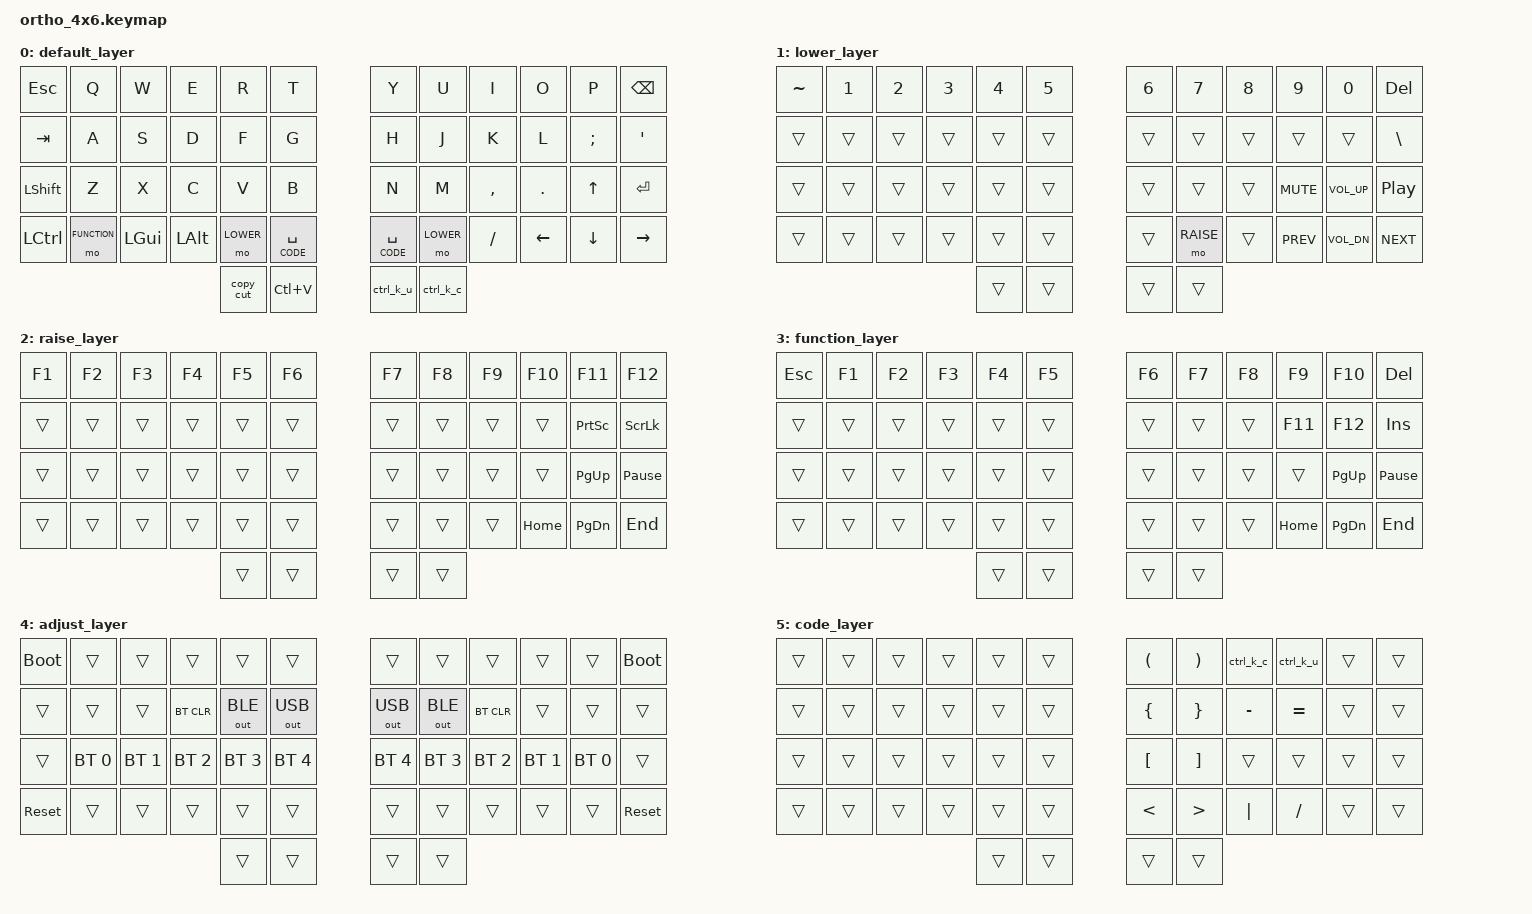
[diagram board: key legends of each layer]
/*
 * Ortho 4x6 Keymap
 * nice!nano v2 | ZMK Firmware | row2col wiring
 *
 * ─────────────────────────────────────────────────────────────────────────────
 * Physical layout (52 keys total, 26 per half):
 *
 *   ┌─────┬─────┬─────┬─────┬─────┬─────┐                     ┌─────┬─────┬─────┬─────┬─────┬─────┐
 *   │  0  │  1  │  2  │  3  │  4  │  5  │                     │  6  │  7  │  8  │  9  │ 10  │ 11  │  ← Row 0
 *   ├─────┼─────┼─────┼─────┼─────┼─────┤                     ├─────┼─────┼─────┼─────┼─────┼─────┤
 *   │ 12  │ 13  │ 14  │ 15  │ 16  │ 17  │                     │ 18  │ 19  │ 20  │ 21  │ 22  │ 23  │  ← Row 1
 *   ├─────┼─────┼─────┼─────┼─────┼─────┤                     ├─────┼─────┼─────┼─────┼─────┼─────┤
 *   │ 24  │ 25  │ 26  │ 27  │ 28  │ 29  │                     │ 30  │ 31  │ 32  │ 33  │[34] │ 35  │  ← Row 2  [34]=UP
 *   ├─────┼─────┼─────┼─────┼─────┼─────┤                     ├─────┼─────┼─────┼─────┼─────┼─────┤
 *   │ 36  │ 37  │ 38  │ 39  │ 40  │ 41  │                     │ 42  │ 43  │ 44  │[45] │[46] │[47] │  ← Row 3  [45-47]=L/D/R
 *   └─────┴─────┴─────┴─────┴─────┼─────┬─────┐         ┌─────┼─────┼─────┼─────┼─────┴─────┴─────┘
 *                                 │ 48  │ 49  │         │ 50  │ 51  │                         ← Thumb
 *                                 └─────┴─────┘         └─────┴─────┘
 *
 * Arrow key inverted-T (bottom-right of right half):
 *                     [UP:34]
 *        [LEFT:45] [DOWN:46] [RIGHT:47]
 *
 * Thumb cluster:
 *   48 = Left thumb inner  (LT0) — copy_cut tap-dance (tap=copy, doubletap=cut)
 *   49 = Left thumb outer  (LT1) — PASTE (Ctrl+V)
 *   50 = Right thumb inner (RT0) — UNCOMMENT (Ctrl+K Ctrl+U)
 *   51 = Right thumb outer (RT1) — COMMENT (Ctrl+K Ctrl+C)
 * ─────────────────────────────────────────────────────────────────────────────
 */

#include <behaviors.dtsi>
#include <dt-bindings/zmk/keys.h>
#include <dt-bindings/zmk/bt.h>
#include <dt-bindings/zmk/outputs.h>

#define BASE     0
#define LOWER    1
#define RAISE    2
#define FUNCTION 3
#define ADJUST   4
#define CODE     5

/ {
    /* ADJUST activates when both LOWER and RAISE are held simultaneously */
    conditional_layers {
        compatible = "zmk,conditional-layers";
        adjust_layer {
            if-layers = <LOWER RAISE>;
            then-layer = <ADJUST>;
        };
    };

    behaviors {
        copy_cut: copy_cut {
            compatible = "zmk,behavior-tap-dance";
            #binding-cells = <0>;
            tapping-term-ms = <300>;
            bindings = <&kp LC(C)>, <&kp LC(X)>;
        };

    };

    macros {
        ctrl_k_c: ctrl_k_c {
            compatible = "zmk,behavior-macro";
            #binding-cells = <0>;
            wait-ms = <30>;
            tap-ms = <40>;
            bindings
                = <&macro_tap &kp LC(K)>
                , <&macro_tap &kp LC(C)>
                ;
        };
        ctrl_k_u: ctrl_k_u {
            compatible = "zmk,behavior-macro";
            #binding-cells = <0>;
            wait-ms = <30>;
            tap-ms = <40>;
            bindings
                = <&macro_tap &kp LC(K)>
                , <&macro_tap &kp LC(U)>
                ;
        };
    };


    keymap {
        compatible = "zmk,keymap";

        /* ──────────────────────────────────────────────────────────────────
         * Layer 0 — BASE (QWERTY)
         *
         * ┌─────┬─────┬─────┬─────┬─────┬─────┐                 ┌─────┬─────┬─────┬─────┬─────┬─────┐
         * │ ESC │  Q  │  W  │  E  │  R  │  T  │                 │  Y  │  U  │  I  │  O  │  P  │BSPC │
         * ├─────┼─────┼─────┼─────┼─────┼─────┤                 ├─────┼─────┼─────┼─────┼─────┼─────┤
         * │ TAB │  A  │  S  │  D  │  F  │  G  │                 │  H  │  J  │  K  │  L  │  ;  │  '  │
         * ├─────┼─────┼─────┼─────┼─────┼─────┤                 ├─────┼─────┼─────┼─────┼─────┼─────┤
         * │LSFT │  Z  │  X  │  C  │  V  │  B  │                 │  N  │  M  │  ,  │  .  │ UP  │ RET │
         * ├─────┼─────┼─────┼─────┼─────┼─────┤                 ├─────┼─────┼─────┼─────┼─────┼─────┤
         * │LCTL │ FN  │LGUI │LALT │MO(L)│CSPC │                 │CSPC │MO(R)│  /  │LEFT │DOWN │RGHT │
         * └─────┴─────┴─────┴─────┴─────┼─────┬─────┐     ┌─────┼─────┼─────┼─────┼─────┴─────┴─────┘
         *                               │CPY/X│PST  │     │UCMT │CMT  │
         *                               └─────┴─────┘     └─────┴─────┘
         * ──────────────────────────────────────────────────────────────── */
        default_layer {
            bindings = <
/* Row 0 */
&kp ESC    &kp Q    &kp W    &kp E     &kp R     &kp T         &kp Y     &kp U     &kp I     &kp O    &kp P     &kp BSPC
/* Row 1 */
&kp TAB    &kp A    &kp S    &kp D     &kp F     &kp G         &kp H     &kp J     &kp K     &kp L    &kp SEMI  &kp SQT
/* Row 2 */
&kp LSHFT  &kp Z    &kp X    &kp C     &kp V     &kp B         &kp N     &kp M     &kp COMMA &kp DOT  &kp UP    &kp RET
/* Row 3 */
&kp LCTRL  &mo FUNCTION &kp LGUI &kp LALT &mo LOWER &lt CODE SPACE    &lt CODE SPACE &mo LOWER &kp FSLH  &kp LEFT &kp DOWN  &kp RIGHT
/* Thumb */
                              &copy_cut &kp LC(V)               &ctrl_k_u &ctrl_k_c
            >;
        };

        /* ──────────────────────────────────────────────────────────────────
         * Layer 1 — LOWER (Numbers, symbols, media)
         *
         * ┌─────┬─────┬─────┬─────┬─────┬─────┐                 ┌─────┬─────┬─────┬─────┬─────┬─────┐
         * │  ~  │  1  │  2  │  3  │  4  │  5  │                 │  6  │  7  │  8  │  9  │  0  │ DEL │
         * ├─────┼─────┼─────┼─────┼─────┼─────┤                 ├─────┼─────┼─────┼─────┼─────┼─────┤
         * │     │     │     │     │     │     |                 │PSCR │     │     │     │     │  \  | 
         * ├─────┼─────┼─────┼─────┼─────┼─────┤                 ├─────┼─────┼─────┼─────┼─────┼─────┤
         * │     │     │     │     │     │     │                 │SLCK │PGUP │PAUS │MUTE │VOL+ │ PLY │
         * ├─────┼─────┼─────┼─────┼─────┼─────┤                 ┼─────┼─────┼─────┼─────┼─────┼─────┤
         * │     │     │     │     │▓▓▓▓▓│     │                 │HOME │PGDN │ END │ PRV │VOL- │ NXT │
         * └─────┴─────┴─────┴─────┴─────┼─────┬─────┐     ┌─────┼─────┼─────┼─────┼─────┴─────┴─────┘
         *                               │     │     │     │     │     │
         *                               └─────┴─────┘     └─────┴─────┘
         * ──────────────────────────────────────────────────────────────── */
        lower_layer {
            bindings = <
/* Row 0 */
&kp TILDE  &kp N1    &kp N2    &kp N3    &kp N4    &kp N5        &kp N6     &kp N7    &kp N8    &kp N9      &kp N0   &kp DEL
/* Row 1 */
&trans     &trans    &trans    &trans    &trans    &trans        &trans     &trans    &trans    &trans      &trans   &kp BSLH
/* Row 2 */
&trans     &trans    &trans    &trans    &trans    &trans        &trans     &trans    &trans    &kp C_MUTE  &kp C_VOL_UP   &kp C_PP  
/* Row 3 */
&trans     &trans    &trans    &trans     &trans   &trans        &trans     &mo RAISE    &trans    &kp C_PREV  &kp C_VOL_DN &kp C_NEXT
/* Thumb */
                               &trans    &trans                  &trans    &trans
            >;
        };

        /* ──────────────────────────────────────────────────────────────────
         * Layer 2 — RAISE (Function keys, navigation)
         *
         * ┌─────┬─────┬─────┬─────┬─────┬─────┐                 ┌─────┬─────┬─────┬─────┬─────┬─────┐
         * │  ~  │  1  │  2  │  3  │  4  │  5  │                 │  6  │  7  │  8  │  9  │  0  │ DEL │
         * ├─────┼─────┼─────┼─────┼─────┼─────┤                 ├─────┼─────┼─────┼─────┼─────┼─────┤
         * │     │     │     │     │     │     │                 │PSCR │     │     │     │     │  \  |
         * ├─────┼─────┼─────┼─────┼─────┼─────┤                 ├─────┼─────┼─────┼─────┼─────┼─────┤
         * │     │     │     │     │     │     │                 │SLCK │PGUP │PAUS │MUTE │VOL+ │ PLY │
         * ├─────┼─────┼─────┼─────┼─────┼─────┤                 ┼─────┼─────┼─────┼─────┼─────┼─────┤
         * │     │     │     │     │     │     │                 │HOME │PGDN │ END │ PRV │VOL- │ NXT │
         * └─────┴─────┴─────┴─────┴─────┼─────┬─────┐     ┌─────┼─────┼─────┼─────┼─────┴─────┴─────┘
         *                               │     │     │     │     │▓▓▓▓▓│
         *                               └─────┴─────┘     └─────┴─────┘
         * ──────────────────────────────────────────────────────────────── */
        raise_layer {
            bindings = <
/* Row 0 */
&kp F1     &kp F2    &kp F3    &kp F4    &kp F5    &kp F6        &kp F7    &kp F8    &kp F9    &kp F10   &kp F11   &kp F12
/* Row 1 */
&trans     &trans    &trans    &trans    &trans    &trans        &trans    &trans    &trans    &trans    &kp PSCRN &kp SLCK
/* Row 2 */
&trans     &trans    &trans    &trans    &trans    &trans        &trans    &trans    &trans    &trans    &kp PG_UP &kp PAUSE_BREAK
/* Row 3 */
&trans     &trans    &trans    &trans    &trans    &trans        &trans    &trans    &trans    &kp HOME  &kp PG_DN &kp END
/* Thumb */
                               &trans    &trans                  &trans    &trans
            >;
        };

        /* ──────────────────────────────────────────────────────────────────
         * Layer 3 — FUNCTION (F-keys, held via FN key)
         *
         * ┌─────┬─────┬─────┬─────┬─────┬─────┐                 ┌─────┬─────┬─────┬─────┬─────┬─────┐
         * │ ESC │ F1  │ F2  │ F3  │ F4  │ F5  │                 │ F6  │ F7  │ F8  │ F9  │ F10 │ DEL │
         * ├─────┼─────┼─────┼─────┼─────┼─────┤                 ├─────┼─────┼─────┼─────┼─────┼─────┤
         * │     │     │     │     │     │     │                 │     │     │     │ F11 │ F12 │ INS │
         * ├─────┼─────┼─────┼─────┼─────┼─────┤                 ├─────┼─────┼─────┼─────┼─────┼─────┤
         * │     │     │     │     │     │     │                 │     │     │     │     │PGUP │PAUS │
         * ├─────┼─────┼─────┼─────┼─────┼─────┤                 ├─────┼─────┼─────┼─────┼─────┼─────┤
         * │     │▓▓▓▓▓│     │     │     │     │                 │     │     │     │HOME │PGDN │ END │
         * └─────┴─────┴─────┴─────┴─────┼─────┬─────┐     ┌─────┼─────┼─────┼─────┼─────┴─────┴─────┘
         *                               │     │     │     │     │     │
         *                               └─────┴─────┘     └─────┴─────┘
         * ──────────────────────────────────────────────────────────────── */
        function_layer {
            bindings = <
/* Row 0 */
&kp ESC    &kp F1    &kp F2    &kp F3    &kp F4    &kp F5        &kp F6    &kp F7    &kp F8    &kp F9    &kp F10   &kp DEL
/* Row 1 */
&trans     &trans    &trans    &trans    &trans    &trans        &trans    &trans    &trans    &kp F11   &kp F12   &kp INS
/* Row 2 */
&trans     &trans    &trans    &trans    &trans    &trans        &trans    &trans    &trans    &trans    &kp PG_UP &kp PAUSE_BREAK
/* Row 3 */
&trans     &trans    &trans    &trans    &trans    &trans        &trans    &trans    &trans    &kp HOME  &kp PG_DN &kp END
/* Thumb */
                               &trans   &trans                  &trans    &trans
            >;
        };

        /* ──────────────────────────────────────────────────────────────────
         * Layer 4 — ADJUST (Bluetooth, firmware)
         * Reached by: hold LOWER + RAISE simultaneously (conditional layer)
         *
         * ┌──────┬──────┬──────┬──────┬──────┬──────┐                   ┌──────┬──────┬──────┬──────┬──────┬──────┐
         * │ BOOT │      │      │      │      │      │                   │      │      │      │      │      │ BOOT │
         * ├──────┼──────┼──────┼──────┼──────┼──────┤                   ├──────┼──────┼──────┼──────┼──────┼──────┤
         * │      │      │      │BTCLR │O_BLE │O_USB │                   │O_USB │O_BLE │BTCLR │      │      │      │
         * ├──────┼──────┼──────┼──────┼──────┼──────┤                   ├──────┼──────┼──────┼──────┼──────┼──────┤
         * │      │BT_0  │BT_1  │BT_2  │BT_3  │BT_4  │                   │BT_4  │BT_3  │BT_2  │BT_1  │BT_0  │      │
         * ├──────┼──────┼──────┼──────┼──────┼──────┤                   ├──────┼──────┼──────┼──────┼──────┼──────┤
         * │ RST  │      │      │      │      │      │                   │      │      │      │      │      │ RST  │
         * └──────┴──────┴──────┴──────┴──────┼──────┬──────┐     ┌──────┼──────┼──────┴──────┴──────┴──────┴──────┘
         *                                    │▓▓▓▓▓▓│      │     │      │▓▓▓▓▓▓│
         *                                    └──────┴──────┘     └──────┴──────┘
         * ──────────────────────────────────────────────────────────────── */
        adjust_layer {
            bindings = <
/* Row 0 */
&bootloader &trans        &trans        &trans        &trans        &trans         &trans        &trans        &trans        &trans        &trans        &bootloader
/* Row 1 — output / BT clear */
&trans      &trans        &trans        &bt BT_CLR    &out OUT_BLE  &out OUT_USB   &out OUT_USB  &out OUT_BLE  &bt BT_CLR    &trans        &trans        &trans
/* Row 2 — BT profile selection */
&trans      &bt BT_SEL 0  &bt BT_SEL 1  &bt BT_SEL 2  &bt BT_SEL 3  &bt BT_SEL 4  &bt BT_SEL 4  &bt BT_SEL 3  &bt BT_SEL 2  &bt BT_SEL 1  &bt BT_SEL 0  &trans
/* Row 3 — soft reset (no flash mode) */
&sys_reset  &trans        &trans        &trans        &trans        &trans         &trans        &trans        &trans        &trans        &trans        &sys_reset
/* Thumb */
                                        &trans        &trans                        &trans        &trans
            >;
        };

        /* ──────────────────────────────────────────────────────────────────
         * Layer 5 — CODE (bracket pairs, held via thumb 49 or 50)
         *
         * ┌─────┬─────┬─────┬─────┬─────┬─────┐                 ┌─────┬─────┬─────┬─────┬─────┬─────┐
         * │     │     │     │     │     │     │                 │  (  │  )  │     │     │     │     │
         * ├─────┼─────┼─────┼─────┼─────┼─────┼                 ┼─────┤─────┼─────┼─────┼─────┼─────┤
         * │     │     │     │     │     │     │                 │  {  │  }  │     │     │     │     │
         * ├─────┼─────┼─────┼─────┼─────┼─────┼                 ┼─────┤─────┼─────┼─────┼─────┼─────┤
         * │     │     │     │     │     │     │                 │  [  │  ]  │     │     │     │     │
         * ├─────┼─────┼─────┼─────┼─────┼─────┤                 ├─────┼─────┼─────┼─────┼─────┼─────┤
         * │     │     │     │     │     │▓▓▓▓▓│                 │  <  │  >  │     │     │     │     │
         * └─────┴─────┴─────┴─────┴─────┼─────┼─────┐     ┌─────┼─────┼─────┴─────┴─────┴─────┴─────┘
         *                               │     │     │     │     │     │
         *                               └─────┴─────┘     └─────┴─────┘
         * ──────────────────────────────────────────────────────────────── */
        code_layer {
            bindings = <
/* Row 0 */
&trans  &trans  &trans  &trans  &trans  &trans                  &kp LPAR  &kp RPAR  &ctrl_k_c  &ctrl_k_u  &trans  &trans
/* Row 1 */             
&trans  &trans  &trans  &trans  &trans  &trans                  &kp LBRC  &kp RBRC  &kp MINUS  &kp EQUAL &trans  &trans 
/* Row 2 */             
&trans  &trans  &trans  &trans  &trans  &trans                  &kp LBKT  &kp RBKT  &trans     &trans    &trans  &trans 
/* Row 3 */             
&trans  &trans  &trans  &trans  &trans  &trans                  &kp LT    &kp GT    &kp PIPE   &kp FSLH  &trans  &trans  
/* Thumb */
                                &trans  &trans          &trans  &trans
            >;
        };
    };
};
